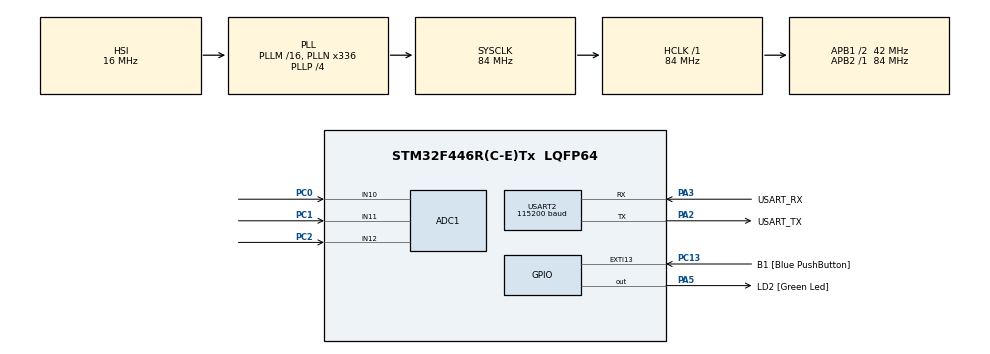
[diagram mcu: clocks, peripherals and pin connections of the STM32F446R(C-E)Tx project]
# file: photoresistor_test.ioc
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ADC1.Channel-0\#ChannelRegularConversion=ADC_CHANNEL_10
ADC1.Channel-1\#ChannelRegularConversion=ADC_CHANNEL_11
ADC1.Channel-2\#ChannelRegularConversion=ADC_CHANNEL_12
ADC1.ClockPrescaler=ADC_CLOCK_SYNC_PCLK_DIV6
ADC1.ContinuousConvMode=ENABLE
ADC1.DMAContinuousRequests=ENABLE
ADC1.DiscontinuousConvMode=DISABLE
ADC1.EOCSelection=ADC_EOC_SINGLE_CONV
ADC1.NbrOfConversion=3
ADC1.NbrOfConversionFlag=1
ADC1.Rank-0\#ChannelRegularConversion=1
ADC1.Rank-1\#ChannelRegularConversion=2
ADC1.Rank-2\#ChannelRegularConversion=3
ADC1.SamplingTime-0\#ChannelRegularConversion=ADC_SAMPLETIME_56CYCLES
ADC1.SamplingTime-1\#ChannelRegularConversion=ADC_SAMPLETIME_56CYCLES
ADC1.SamplingTime-2\#ChannelRegularConversion=ADC_SAMPLETIME_56CYCLES
ADC1.ScanConvMode=ENABLE
ADC1.master=1
Dma.ADC1.0.Direction=DMA_PERIPH_TO_MEMORY
Dma.ADC1.0.FIFOMode=DMA_FIFOMODE_DISABLE
Dma.ADC1.0.Instance=DMA2_Stream0
Dma.ADC1.0.MemDataAlignment=DMA_MDATAALIGN_HALFWORD
Dma.ADC1.0.MemInc=DMA_MINC_ENABLE
Dma.ADC1.0.Mode=DMA_CIRCULAR
Dma.ADC1.0.PeriphDataAlignment=DMA_PDATAALIGN_HALFWORD
Dma.ADC1.0.PeriphInc=DMA_PINC_DISABLE
Dma.ADC1.0.Priority=DMA_PRIORITY_LOW
Dma.Request0=ADC1
Mcu.Family=STM32F4
Mcu.Name=STM32F446R(C-E)Tx
Mcu.Package=LQFP64
NVIC.DMA2_Stream0_IRQn=true\:0\:0\:false\:false\:true\:false\:true\:true
NVIC.PriorityGroup=NVIC_PRIORITYGROUP_0
NVIC.USART2_IRQn=true\:0\:0\:false\:false\:true\:true\:true\:true
PA13.GPIO_Label=TMS
PA13.Mode=Serial_Wire
PA13.Signal=SYS_JTMS-SWDIO
PA14.GPIO_Label=TCK
PA14.Mode=Serial_Wire
PA14.Signal=SYS_JTCK-SWCLK
PA2.GPIO_Label=USART_TX
PA2.Mode=Asynchronous
PA2.Signal=USART2_TX
PA3.GPIO_Label=USART_RX
PA3.Mode=Asynchronous
PA3.Signal=USART2_RX
PA5.GPIO_Label=LD2 [Green Led]
PA5.Signal=GPIO_Output
PB3.GPIO_Label=SWO
PB3.Signal=SYS_JTDO-SWO
PC0.Signal=ADCx_IN10
PC1.Signal=ADCx_IN11
PC13.GPIO_Label=B1 [Blue PushButton]
PC13.GPIO_ModeDefaultEXTI=GPIO_MODE_IT_FALLING
PC13.Signal=GPXTI13
PC14-OSC32_IN.Mode=LSE-External-Oscillator
PC14-OSC32_IN.Signal=RCC_OSC32_IN
PC15-OSC32_OUT.Mode=LSE-External-Oscillator
PC15-OSC32_OUT.Signal=RCC_OSC32_OUT
PC2.Signal=ADCx_IN12
PH0-OSC_IN.Mode=HSE-External-Oscillator
PH0-OSC_IN.Signal=RCC_OSC_IN
PH1-OSC_OUT.Mode=HSE-External-Oscillator
PH1-OSC_OUT.Signal=RCC_OSC_OUT
ProjectManager.HeapSize=0x200
ProjectManager.StackSize=0x400
ProjectManager.TargetToolchain=STM32CubeIDE
RCC.48MHZClocksFreq_Value=84000000
RCC.AHBFreq_Value=84000000
RCC.APB1CLKDivider=RCC_HCLK_DIV2
RCC.APB1Freq_Value=42000000
RCC.APB1TimFreq_Value=84000000
RCC.APB2Freq_Value=84000000
RCC.APB2TimFreq_Value=84000000
RCC.CortexFreq_Value=84000000
RCC.FLatency-AdvancedSettings=FLASH_LATENCY_2
RCC.HCLKFreq_Value=84000000
RCC.HSE_VALUE=8000000
RCC.HSI_VALUE=16000000
RCC.PLLN=336
RCC.PLLP=RCC_PLLP_DIV4
RCC.SYSCLKFreq_VALUE=84000000
RCC.SYSCLKSource=RCC_SYSCLKSOURCE_PLLCLK
RCC.USBFreq_Value=168000000
RCC.VCOOutputFreq_Value=336000000
SH.ADCx_IN10.0=ADC1_IN10,IN10
SH.ADCx_IN11.0=ADC1_IN11,IN11
SH.ADCx_IN12.0=ADC1_IN12,IN12
USART2.BaudRate=115200
USART2.VirtualMode=VM_ASYNC
board=NUCLEO-F446RE

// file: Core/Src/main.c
/* USER CODE BEGIN Header */
/**
  ******************************************************************************
  * @file           : main.c
  * @brief          : Main program body
  ******************************************************************************
  * @attention
  *
  * Copyright (c) 2022 STMicroelectronics.
  * All rights reserved.
  *
  * This software is licensed under terms that can be found in the LICENSE file
  * in the root directory of this software component.
  * If no LICENSE file comes with this software, it is provided AS-IS.
  *
  ******************************************************************************
  */
/* USER CODE END Header */
#include "main.h"

/* USER CODE BEGIN Includes */
#include <string.h>
#include <stdio.h>
/* USER CODE END Includes */

ADC_HandleTypeDef hadc1;
DMA_HandleTypeDef hdma_adc1;

UART_HandleTypeDef huart2;

/* USER CODE BEGIN PV */
uint16_t NUMBER_OF_SENSORS = 3;
/* USER CODE END PV */

void SystemClock_Config(void);
static void MX_GPIO_Init(void);
static void MX_DMA_Init(void);
static void MX_USART2_UART_Init(void);
static void MX_ADC1_Init(void);
/* USER CODE BEGIN PFP */
//void DMATransferComplete(DMA_HandleTypeDef *hdma){
//	huart2.Instance -> CR3 &= ~USART_CR3_DMAT;
//
//}

/* USER CODE END PFP */

int main(void)
{
  /* USER CODE BEGIN 1 */
	char msg[100];
	uint16_t rawValues[NUMBER_OF_SENSORS];
  /* USER CODE END 1 */

  /* MCU Configuration--------------------------------------------------------*/

  /* Reset of all peripherals, Initializes the Flash interface and the Systick. */
  HAL_Init();

  /* Configure the system clock */
  SystemClock_Config();

  /* Initialize all configured peripherals */
  MX_GPIO_Init();
  MX_DMA_Init();
  MX_USART2_UART_Init();
  MX_ADC1_Init();
  /* USER CODE BEGIN 2 */
  HAL_ADC_Start_DMA(&hadc1, (uint32_t*)rawValues, NUMBER_OF_SENSORS);

  /* USER CODE END 2 */

  /* Infinite loop */
  /* USER CODE BEGIN WHILE */
  while (1)
  {
	  float voltages[NUMBER_OF_SENSORS];
	  for (int sensor_id = 0; sensor_id < NUMBER_OF_SENSORS; sensor_id++)
	  {
		  voltages[sensor_id] = rawValues[sensor_id] * 3.3/ 4095;
	  }

	  //transer data to msg buffer and send it via uart
	  int bytes_num = 0; //number of bytes that are written in the buffer
	  for (int sensor_id = 0; sensor_id < NUMBER_OF_SENSORS; sensor_id++)
	  {
		  bytes_num += sprintf(msg+bytes_num, "%.4f, ", voltages[sensor_id]);

	  }
	  //add new line to the buffer
	  bytes_num += sprintf(msg+bytes_num, "\n");
	  HAL_UART_Transmit(&huart2, (uint8_t*)msg, strlen(msg), HAL_MAX_DELAY);
    /* USER CODE END WHILE */

  }
}

void SystemClock_Config(void)
{
  RCC_OscInitTypeDef RCC_OscInitStruct = {0};
  RCC_ClkInitTypeDef RCC_ClkInitStruct = {0};

  /** Configure the main internal regulator output voltage
  */
  __HAL_RCC_PWR_CLK_ENABLE();
  __HAL_PWR_VOLTAGESCALING_CONFIG(PWR_REGULATOR_VOLTAGE_SCALE3);

  /** Initializes the RCC Oscillators according to the specified parameters
  * in the RCC_OscInitTypeDef structure.
  */
  RCC_OscInitStruct.OscillatorType = RCC_OSCILLATORTYPE_HSI;
  RCC_OscInitStruct.HSIState = RCC_HSI_ON;
  RCC_OscInitStruct.HSICalibrationValue = RCC_HSICALIBRATION_DEFAULT;
  RCC_OscInitStruct.PLL.PLLState = RCC_PLL_ON;
  RCC_OscInitStruct.PLL.PLLSource = RCC_PLLSOURCE_HSI;
  RCC_OscInitStruct.PLL.PLLM = 16;
  RCC_OscInitStruct.PLL.PLLN = 336;
  RCC_OscInitStruct.PLL.PLLP = RCC_PLLP_DIV4;
  RCC_OscInitStruct.PLL.PLLQ = 2;
  RCC_OscInitStruct.PLL.PLLR = 2;
  if (HAL_RCC_OscConfig(&RCC_OscInitStruct) != HAL_OK)
  {
    Error_Handler();
  }

  /** Initializes the CPU, AHB and APB buses clocks
  */
  RCC_ClkInitStruct.ClockType = RCC_CLOCKTYPE_HCLK|RCC_CLOCKTYPE_SYSCLK
                              |RCC_CLOCKTYPE_PCLK1|RCC_CLOCKTYPE_PCLK2;
  RCC_ClkInitStruct.SYSCLKSource = RCC_SYSCLKSOURCE_PLLCLK;
  RCC_ClkInitStruct.AHBCLKDivider = RCC_SYSCLK_DIV1;
  RCC_ClkInitStruct.APB1CLKDivider = RCC_HCLK_DIV2;
  RCC_ClkInitStruct.APB2CLKDivider = RCC_HCLK_DIV1;

  if (HAL_RCC_ClockConfig(&RCC_ClkInitStruct, FLASH_LATENCY_2) != HAL_OK)
  {
    Error_Handler();
  }
}

static void MX_ADC1_Init(void)
{

  ADC_ChannelConfTypeDef sConfig = {0};

  /** Configure the global features of the ADC (Clock, Resolution, Data Alignment and number of conversion)
  */
  hadc1.Instance = ADC1;
  hadc1.Init.ClockPrescaler = ADC_CLOCK_SYNC_PCLK_DIV6;
  hadc1.Init.Resolution = ADC_RESOLUTION_12B;
  hadc1.Init.ScanConvMode = ENABLE;
  hadc1.Init.ContinuousConvMode = ENABLE;
  hadc1.Init.DiscontinuousConvMode = DISABLE;
  hadc1.Init.ExternalTrigConvEdge = ADC_EXTERNALTRIGCONVEDGE_NONE;
  hadc1.Init.ExternalTrigConv = ADC_SOFTWARE_START;
  hadc1.Init.DataAlign = ADC_DATAALIGN_RIGHT;
  hadc1.Init.NbrOfConversion = 3;
  hadc1.Init.DMAContinuousRequests = ENABLE;
  hadc1.Init.EOCSelection = ADC_EOC_SINGLE_CONV;
  if (HAL_ADC_Init(&hadc1) != HAL_OK)
  {
    Error_Handler();
  }

  /** Configure for the selected ADC regular channel its corresponding rank in the sequencer and its sample time.
  */
  sConfig.Channel = ADC_CHANNEL_10;
  sConfig.Rank = 1;
  sConfig.SamplingTime = ADC_SAMPLETIME_56CYCLES;
  if (HAL_ADC_ConfigChannel(&hadc1, &sConfig) != HAL_OK)
  {
    Error_Handler();
  }

  /** Configure for the selected ADC regular channel its corresponding rank in the sequencer and its sample time.
  */
  sConfig.Channel = ADC_CHANNEL_11;
  sConfig.Rank = 2;
  if (HAL_ADC_ConfigChannel(&hadc1, &sConfig) != HAL_OK)
  {
    Error_Handler();
  }

  /** Configure for the selected ADC regular channel its corresponding rank in the sequencer and its sample time.
  */
  sConfig.Channel = ADC_CHANNEL_12;
  sConfig.Rank = 3;
  if (HAL_ADC_ConfigChannel(&hadc1, &sConfig) != HAL_OK)
  {
    Error_Handler();
  }

}

static void MX_USART2_UART_Init(void)
{

  huart2.Instance = USART2;
  huart2.Init.BaudRate = 115200;
  huart2.Init.WordLength = UART_WORDLENGTH_8B;
  huart2.Init.StopBits = UART_STOPBITS_1;
  huart2.Init.Parity = UART_PARITY_NONE;
  huart2.Init.Mode = UART_MODE_TX_RX;
  huart2.Init.HwFlowCtl = UART_HWCONTROL_NONE;
  huart2.Init.OverSampling = UART_OVERSAMPLING_16;
  if (HAL_UART_Init(&huart2) != HAL_OK)
  {
    Error_Handler();
  }

}

static void MX_DMA_Init(void)
{

  /* DMA controller clock enable */
  __HAL_RCC_DMA2_CLK_ENABLE();

  /* DMA interrupt init */
  /* DMA2_Stream0_IRQn interrupt configuration */
  HAL_NVIC_SetPriority(DMA2_Stream0_IRQn, 0, 0);
  HAL_NVIC_EnableIRQ(DMA2_Stream0_IRQn);

}

static void MX_GPIO_Init(void)
{
  GPIO_InitTypeDef GPIO_InitStruct = {0};

  /* GPIO Ports Clock Enable */
  __HAL_RCC_GPIOC_CLK_ENABLE();
  __HAL_RCC_GPIOH_CLK_ENABLE();
  __HAL_RCC_GPIOA_CLK_ENABLE();
  __HAL_RCC_GPIOB_CLK_ENABLE();

  /*Configure GPIO pin Output Level */
  HAL_GPIO_WritePin(LD2_GPIO_Port, LD2_Pin, GPIO_PIN_RESET);

  /*Configure GPIO pin : B1_Pin */
  GPIO_InitStruct.Pin = B1_Pin;
  GPIO_InitStruct.Mode = GPIO_MODE_IT_FALLING;
  GPIO_InitStruct.Pull = GPIO_NOPULL;
  HAL_GPIO_Init(B1_GPIO_Port, &GPIO_InitStruct);

  /*Configure GPIO pin : LD2_Pin */
  GPIO_InitStruct.Pin = LD2_Pin;
  GPIO_InitStruct.Mode = GPIO_MODE_OUTPUT_PP;
  GPIO_InitStruct.Pull = GPIO_NOPULL;
  GPIO_InitStruct.Speed = GPIO_SPEED_FREQ_LOW;
  HAL_GPIO_Init(LD2_GPIO_Port, &GPIO_InitStruct);

}

/* USER CODE BEGIN 4 */
void HAL_ADC_ConvCpltCallback(ADC_HandleTypeDef *hadc)
{
  HAL_GPIO_TogglePin(LD2_GPIO_Port, LD2_Pin);
}
/* USER CODE END 4 */

void Error_Handler(void)
{
  __disable_irq();
  while (1)
  {
  }
}
